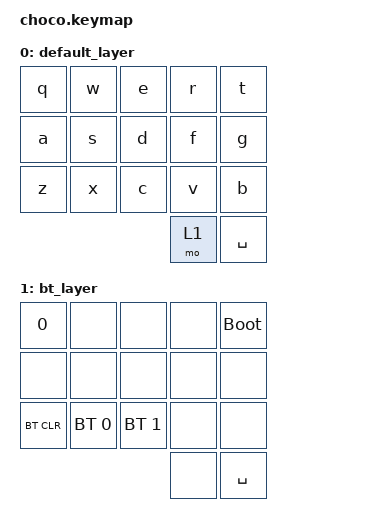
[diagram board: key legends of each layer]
#include <behaviors.dtsi>
#include <dt-bindings/zmk/keys.h>
#include <dt-bindings/zmk/bt.h>

/ {
    keymap {
        compatible = "zmk,keymap";

        default_layer {
            bindings = <
                &kp q   &kp w   &kp e   &kp r   &kp t
                &kp a   &kp s   &kp d   &kp f   &kp g
                &kp z   &kp x   &kp c   &kp v   &kp b
                                        &mo 1   &kp SPACE
            >;
        };

        bt_layer {
            bindings = <
                &kp N0  &none   &none   &none   &bootloader
                &none   &none   &none   &none   &none
                &bt BT_CLR  &bt BT_SEL 0    &bt BT_SEL 1    &none   &none
                                                            &none   &kp SPACE
            >;
        };
    };
};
